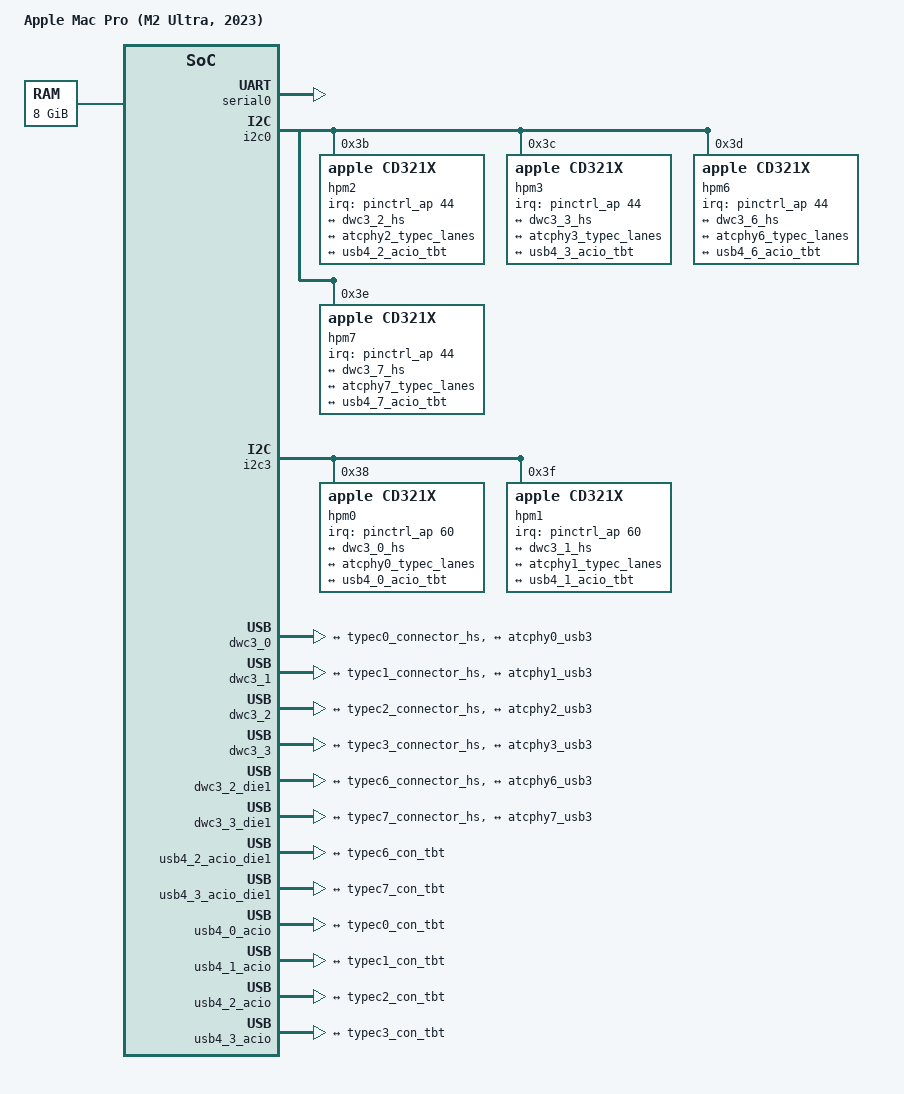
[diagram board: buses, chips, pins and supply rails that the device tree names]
// SPDX-License-Identifier: GPL-2.0+ OR MIT
/*
 * Mac Pro (M2 Ultra, 2023)
 *
 * target-type: J180d
 *
 * Copyright The Asahi Linux Contributors
 */

/dts-v1/;

#include "t6022.dtsi"
#include "t6022-jxxxd.dtsi"

/ {
	compatible = "apple,j180d", "apple,t6022", "apple,arm-platform";
	model = "Apple Mac Pro (M2 Ultra, 2023)";
	chassis-type = "server";

	aliases {
		atcphy0 = &atcphy0;
		atcphy1 = &atcphy1;
		atcphy2 = &atcphy2;
		atcphy3 = &atcphy3;
		atcphy4 = &atcphy0_die1;
		atcphy5 = &atcphy1_die1;
		atcphy6 = &atcphy2_die1;
		atcphy7 = &atcphy3_die1;
		usb4-0-acio = &usb4_0_acio;
		usb4-0-nhi = &usb4_0_nhi;
		usb4-1-acio = &usb4_1_acio;
		usb4-1-nhi = &usb4_1_nhi;
		usb4-2-acio = &usb4_2_acio;
		usb4-2-nhi = &usb4_2_nhi;
		usb4-3-acio = &usb4_3_acio;
		usb4-3-nhi = &usb4_3_nhi;
		usb4-4-acio = &usb4_0_acio_die1;
		usb4-4-nhi = &usb4_0_nhi_die1;
		usb4-5-acio = &usb4_1_acio_die1;
		usb4-5-nhi = &usb4_1_nhi_die1;
		usb4-6-acio = &usb4_2_acio_die1;
		usb4-6-nhi = &usb4_2_nhi_die1;
		usb4-7-acio = &usb4_3_acio_die1;
		usb4-7-nhi = &usb4_3_nhi_die1;
		nvram = &nvram;
		serial0 = &serial0;
	};

	chosen {
		#address-cells = <2>;
		#size-cells = <2>;
		ranges;

		stdout-path = "serial0";

		framebuffer0: framebuffer@0 {
			compatible = "apple,simple-framebuffer", "simple-framebuffer";
			reg = <0 0 0 0>; /* To be filled by loader */
			/* Format properties will be added by loader */
			status = "disabled";
			power-domains = <&ps_dispext0_cpu0_die1>, <&ps_dptx_phy_ps_die1>;
		};
	};

	memory@10000000000 {
		device_type = "memory";
		reg = <0x100 0 0x2 0>; /* To be filled by loader */
	};
};

&serial0 {
	status = "okay";
};

/* USB Type C Rear */
&i2c0 {
	hpm2: usb-pd@3b {
		compatible = "apple,cd321x";
		reg = <0x3b>;
		interrupt-parent = <&pinctrl_ap>;
		interrupts = <44 IRQ_TYPE_LEVEL_LOW>;
		interrupt-names = "irq";

		typec2: connector {
			compatible = "usb-c-connector";
			label = "USB-C Back 1";
			power-role = "dual";
			data-role = "dual";

			ports {
				#address-cells = <1>;
				#size-cells = <0>;
				port@0 {
					reg = <0>;
					typec2_connector_hs: endpoint {
						remote-endpoint = <&dwc3_2_hs>;
					};
				};
				port@1 {
					reg = <1>;
					typec2_connector_ss: endpoint {
						remote-endpoint = <&atcphy2_typec_lanes>;
					};
				};
			};
		};
	};

	hpm3: usb-pd@3c {
		compatible = "apple,cd321x";
		reg = <0x3c>;
		interrupt-parent = <&pinctrl_ap>;
		interrupts = <44 IRQ_TYPE_LEVEL_LOW>;
		interrupt-names = "irq";

		typec3: connector {
			compatible = "usb-c-connector";
			label = "USB-C Back 2";
			power-role = "dual";
			data-role = "dual";

			ports {
				#address-cells = <1>;
				#size-cells = <0>;
				port@0 {
					reg = <0>;
					typec3_connector_hs: endpoint {
						remote-endpoint = <&dwc3_3_hs>;
					};
				};
				port@1 {
					reg = <1>;
					typec3_connector_ss: endpoint {
						remote-endpoint = <&atcphy3_typec_lanes>;
					};
				};
			};
		};
	};

	/* hpm4 and hpm5 included from t6022-jxxxd.dtsi */

	hpm6: usb-pd@3d {
		compatible = "apple,cd321x";
		reg = <0x3d>;
		interrupt-parent = <&pinctrl_ap>;
		interrupts = <44 IRQ_TYPE_LEVEL_LOW>;
		interrupt-names = "irq";

		typec6: connector {
			compatible = "usb-c-connector";
			label = "USB-C Back 5";
			power-role = "dual";
			data-role = "dual";

			ports {
				#address-cells = <1>;
				#size-cells = <0>;
				port@0 {
					reg = <0>;
					typec6_connector_hs: endpoint {
						remote-endpoint = <&dwc3_6_hs>;
					};
				};
				port@1 {
					reg = <1>;
					typec6_connector_ss: endpoint {
						remote-endpoint = <&atcphy6_typec_lanes>;
					};
				};

				port@2 {
					reg = <2>;
					typec6_con_tbt: endpoint {
						remote-endpoint = <&usb4_6_acio_tbt>;
					};
				};
			};
		};
	};

	hpm7: usb-pd@3e {
		compatible = "apple,cd321x";
		reg = <0x3e>;
		interrupt-parent = <&pinctrl_ap>;
		interrupts = <44 IRQ_TYPE_LEVEL_LOW>;
		interrupt-names = "irq";

		typec7: connector {
			compatible = "usb-c-connector";
			label = "USB-C Back 6";
			power-role = "dual";
			data-role = "dual";

			ports {
				#address-cells = <1>;
				#size-cells = <0>;
				port@0 {
					reg = <0>;
					typec7_connector_hs: endpoint {
						remote-endpoint = <&dwc3_7_hs>;
					};
				};
				port@1 {
					reg = <1>;
					typec7_connector_ss: endpoint {
						remote-endpoint = <&atcphy7_typec_lanes>;
					};
				};

				port@2 {
					reg = <2>;
					typec7_con_tbt: endpoint {
						remote-endpoint = <&usb4_7_acio_tbt>;
					};
				};
			};
		};
	};
};

&typec4 {
	label = "USB-C Back 3";
};

&typec5 {
	label = "USB-C Back 4";
};

/* USB Type C Front */
&i2c3 {
	status = "okay";

	hpm0: usb-pd@38 {
		compatible = "apple,cd321x";
		reg = <0x38>;
		interrupt-parent = <&pinctrl_ap>;
		interrupts = <60 IRQ_TYPE_LEVEL_LOW>;
		interrupt-names = "irq";

		typec0: connector {
			compatible = "usb-c-connector";
			label = "USB-C Top Right";
			power-role = "dual";
			data-role = "dual";

			ports {
				#address-cells = <1>;
				#size-cells = <0>;
				port@0 {
					reg = <0>;
					typec0_connector_hs: endpoint {
						remote-endpoint = <&dwc3_0_hs>;
					};
				};
				port@1 {
					reg = <1>;
					typec0_connector_ss: endpoint {
						remote-endpoint = <&atcphy0_typec_lanes>;
					};
				};
			};
		};
	};

	hpm1: usb-pd@3f {
		compatible = "apple,cd321x";
		reg = <0x3f>;
		interrupt-parent = <&pinctrl_ap>;
		interrupts = <60 IRQ_TYPE_LEVEL_LOW>;
		interrupt-names = "irq";

		typec1: connector {
			compatible = "usb-c-connector";
			label = "USB-C Top Left";
			power-role = "dual";
			data-role = "dual";

			ports {
				#address-cells = <1>;
				#size-cells = <0>;
				port@0 {
					reg = <0>;
					typec1_connector_hs: endpoint {
						remote-endpoint = <&dwc3_1_hs>;
					};
				};
				port@1 {
					reg = <1>;
					typec1_connector_ss: endpoint {
						remote-endpoint = <&atcphy1_typec_lanes>;
					};
				};
			};
		};
	};
};

/* USB controllers */
&dwc3_0 {
	ports {
		#address-cells = <1>;
		#size-cells = <0>;

		port@0 {
			reg = <0>;
			dwc3_0_hs: endpoint {
				remote-endpoint = <&typec0_connector_hs>;
			};
		};

		port@1 {
			reg = <1>;
			dwc3_0_ss: endpoint {
				remote-endpoint = <&atcphy0_usb3>;
			};
		};
	};
};

&dwc3_1 {
	ports {
		#address-cells = <1>;
		#size-cells = <0>;

		port@0 {
			reg = <0>;
			dwc3_1_hs: endpoint {
				remote-endpoint = <&typec1_connector_hs>;
			};
		};

		port@1 {
			reg = <1>;
			dwc3_1_ss: endpoint {
				remote-endpoint = <&atcphy1_usb3>;
			};
		};
	};
};

&dwc3_2 {
	ports {
		#address-cells = <1>;
		#size-cells = <0>;

		port@0 {
			reg = <0>;
			dwc3_2_hs: endpoint {
				remote-endpoint = <&typec2_connector_hs>;
			};
		};

		port@1 {
			reg = <1>;
			dwc3_2_ss: endpoint {
				remote-endpoint = <&atcphy2_usb3>;
			};
		};
	};
};

&dwc3_3 {
	ports {
		#address-cells = <1>;
		#size-cells = <0>;

		port@0 {
			reg = <0>;
			dwc3_3_hs: endpoint {
				remote-endpoint = <&typec3_connector_hs>;
			};
		};

		port@1 {
			reg = <1>;
			dwc3_3_ss: endpoint {
				remote-endpoint = <&atcphy3_usb3>;
			};
		};
	};
};

/* USB controllers on die 1 */
&dwc3_2_die1 {
	ports {
		#address-cells = <1>;
		#size-cells = <0>;

		port@0 {
			reg = <0>;
			dwc3_6_hs: endpoint {
				remote-endpoint = <&typec6_connector_hs>;
			};
		};

		port@1 {
			reg = <1>;
			dwc3_6_ss: endpoint {
				remote-endpoint = <&atcphy6_usb3>;
			};
		};
	};
};

&dwc3_3_die1 {
	ports {
		#address-cells = <1>;
		#size-cells = <0>;

		port@0 {
			reg = <0>;
			dwc3_7_hs: endpoint {
				remote-endpoint = <&typec7_connector_hs>;
			};
		};

		port@1 {
			reg = <1>;
			dwc3_7_ss: endpoint {
				remote-endpoint = <&atcphy7_usb3>;
			};
		};
	};
};

/* Type-C PHYs */
&atcphy0 {
	ports {
		#address-cells = <1>;
		#size-cells = <0>;

		port@0 {
			reg = <0>;
			atcphy0_typec_lanes: endpoint {
				remote-endpoint = <&typec0_connector_ss>;
			};
		};

		port@1 {
			reg = <1>;
			atcphy0_usb3: endpoint {
				remote-endpoint = <&dwc3_0_ss>;
			};
		};
	};
};

&atcphy1 {
	ports {
		#address-cells = <1>;
		#size-cells = <0>;

		port@0 {
			reg = <0>;
			atcphy1_typec_lanes: endpoint {
				remote-endpoint = <&typec1_connector_ss>;
			};
		};

		port@1 {
			reg = <1>;
			atcphy1_usb3: endpoint {
				remote-endpoint = <&dwc3_1_ss>;
			};
		};
	};
};

&atcphy2 {
	ports {
		#address-cells = <1>;
		#size-cells = <0>;

		port@0 {
			reg = <0>;
			atcphy2_typec_lanes: endpoint {
				remote-endpoint = <&typec2_connector_ss>;
			};
		};

		port@1 {
			reg = <1>;
			atcphy2_usb3: endpoint {
				remote-endpoint = <&dwc3_2_ss>;
			};
		};
	};
};

&atcphy3 {
	ports {
		#address-cells = <1>;
		#size-cells = <0>;

		port@0 {
			reg = <0>;
			atcphy3_typec_lanes: endpoint {
				remote-endpoint = <&typec3_connector_ss>;
			};
		};

		port@1 {
			reg = <1>;
			atcphy3_usb3: endpoint {
				remote-endpoint = <&dwc3_3_ss>;
			};
		};
	};
};

&atcphy2_die1 {
	ports {
		#address-cells = <1>;
		#size-cells = <0>;

		port@0 {
			reg = <0>;
			atcphy6_typec_lanes: endpoint {
				remote-endpoint = <&typec6_connector_ss>;
			};
		};

		port@1 {
			reg = <1>;
			atcphy6_usb3: endpoint {
				remote-endpoint = <&dwc3_6_ss>;
			};
		};
	};
};

&atcphy3_die1 {
	ports {
		#address-cells = <1>;
		#size-cells = <0>;

		port@0 {
			reg = <0>;
			atcphy7_typec_lanes: endpoint {
				remote-endpoint = <&typec7_connector_ss>;
			};
		};

		port@1 {
			reg = <1>;
			atcphy7_usb3: endpoint {
				remote-endpoint = <&dwc3_7_ss>;
			};
		};
	};
};

/*
 * Delete unused PCIe nodes, the Mac Pro uses slightly different PCIe
 * controllers with a single port connected to a PM40100 PCIe switch
 */
/delete-node/ &pcie0;
/delete-node/ &pcie0_dart_0;
/delete-node/ &pcie0_dart_1;
/delete-node/ &pcie0_dart_2;
/delete-node/ &pcie0_dart_3;

&nco_clkref {
	clock-frequency = <1068000000>;
};

/* USB4 on die 1 */
&usb4_2_acio_die1 {
	ports {
		#address-cells = <1>;
		#size-cells = <0>;

		/* 1: USB4 port */
		port@1 {
			reg = <1>;
			usb4_6_acio_tbt: endpoint {
				remote-endpoint = <&typec6_con_tbt>;
			};
		};

		/* 2: unused(?) USB4 port */
		/* 3: PCIe */
		/* 4: USB3 */
		/* 5: DP0 */
		/* 6: DP1 */
	};
};

&usb4_3_acio_die1 {
	ports {
		#address-cells = <1>;
		#size-cells = <0>;

		/* 1: USB4 port */
		port@1 {
			reg = <1>;
			usb4_7_acio_tbt: endpoint {
				remote-endpoint = <&typec7_con_tbt>;
			};
		};

		/* 2: unused(?) USB4 port */
		/* 3: PCIe */
		/* 4: USB3 */
		/* 5: DP0 */
		/* 6: DP1 */
	};
};

&typec0 {
	ports {
		port@2 {
			reg = <2>;
			typec0_con_tbt: endpoint {
				remote-endpoint = <&usb4_0_acio_tbt>;
			};
		};
	};
};

&typec1 {
	ports {
		port@2 {
			reg = <2>;
			typec1_con_tbt: endpoint {
				remote-endpoint = <&usb4_1_acio_tbt>;
			};
		};
	};
};

&typec2 {
	ports {
		port@2 {
			reg = <2>;
			typec2_con_tbt: endpoint {
				remote-endpoint = <&usb4_2_acio_tbt>;
			};
		};
	};
};

&typec3 {
	ports {
		port@2 {
			reg = <2>;
			typec3_con_tbt: endpoint {
				remote-endpoint = <&usb4_3_acio_tbt>;
			};
		};
	};
};

/* USB4 */
&usb4_0_acio {
	ports {
		#address-cells = <1>;
		#size-cells = <0>;

		/* 1: USB4 port */
		port@1 {
			reg = <1>;
			usb4_0_acio_tbt: endpoint {
				remote-endpoint = <&typec0_con_tbt>;
			};
		};

		/* 2: unused(?) USB4 port */
		/* 3: PCIe */
		/* 4: USB3 */
		/* 5: DP0 */
		/* 6: DP1 */
	};
};

&usb4_1_acio {
	ports {
		#address-cells = <1>;
		#size-cells = <0>;

		/* 1: USB4 port */
		port@1 {
			reg = <1>;
			usb4_1_acio_tbt: endpoint {
				remote-endpoint = <&typec1_con_tbt>;
			};
		};

		/* 2: unused(?) USB4 port */
		/* 3: PCIe */
		/* 4: USB3 */
		/* 5: DP0 */
		/* 6: DP1 */
	};
};

&usb4_2_acio {
	ports {
		#address-cells = <1>;
		#size-cells = <0>;

		/* 1: USB4 port */
		port@1 {
			reg = <1>;
			usb4_2_acio_tbt: endpoint {
				remote-endpoint = <&typec2_con_tbt>;
			};
		};

		/* 2: unused(?) USB4 port */
		/* 3: PCIe */
		/* 4: USB3 */
		/* 5: DP0 */
		/* 6: DP1 */
	};
};

&usb4_3_acio {
	ports {
		#address-cells = <1>;
		#size-cells = <0>;

		/* 1: USB4 port */
		port@1 {
			reg = <1>;
			usb4_3_acio_tbt: endpoint {
				remote-endpoint = <&typec3_con_tbt>;
			};
		};

		/* 2: unused(?) USB4 port */
		/* 3: PCIe */
		/* 4: USB3 */
		/* 5: DP0 */
		/* 6: DP1 */
	};
};

#include "spi1-nvram.dtsi"
